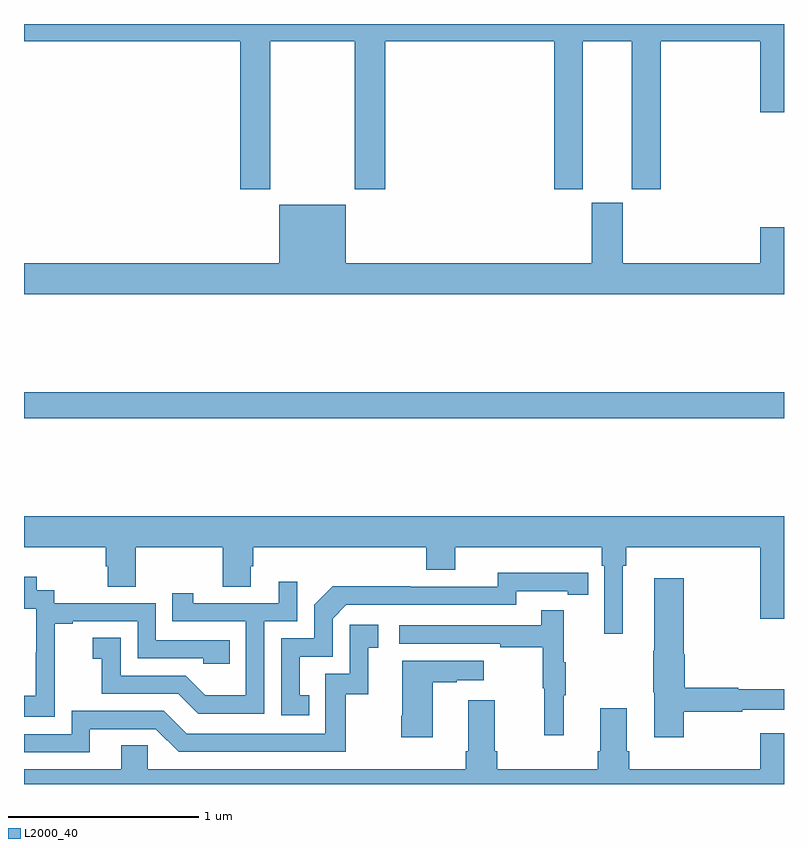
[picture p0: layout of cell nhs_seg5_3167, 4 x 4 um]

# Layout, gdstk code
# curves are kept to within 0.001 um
import gdstk
lib = gdstk.Library(unit=1e-6, precision=1e-09)
def R(c, l, rs):  # rectangles x0, y0, x1, y1
    for r in rs: c.add(gdstk.rectangle(r[:2], r[2:], *l))
def P(c, l, *ps):  # polygons
    for p in ps: c.add(gdstk.Polygon(p, *l))
L2000_40 = (2000, 40)

nhs_seg5_3167 = lib.new_cell('nhs_seg5_3167')
R(nhs_seg5_3167, L2000_40, [(293,906.724,297,906.86)])
P(nhs_seg5_3167, L2000_40, [(294.297,908.708),(294.742,908.708),(294.742,907.929),(294.902,907.929),(294.902,908.708),(295.79,908.708),(295.79,907.929),(295.942,907.929),(295.942,908.708),(296.198,908.708),(296.198,907.929),(296.351,907.929),(296.351,908.708),(296.876,908.708),(296.876,908.334),(297,908.334),(297,908.799),(293,908.799),(293,908.708),(294.137,908.708),(294.137,907.929),(294.297,907.929)],
  [(297,907.729),(296.876,907.729),(296.876,907.54),(296.152,907.54),(296.152,907.857),(295.988,907.857),(295.988,907.54),(294.694,907.54),(294.694,907.849),(294.344,907.849),(294.344,907.54),(293,907.54),(293,907.376),(297,907.376)],
  [(296.152,905.948),(296.171,905.948),(296.171,906.044),(296.876,906.044),(296.876,905.67),(297,905.67),(297,906.208),(293,906.208),(293,906.044),(293.429,906.044),(293.429,905.946),(293.441,905.946),(293.441,905.836),(293.589,905.836),(293.589,906.044),(294.046,906.044),(294.046,905.836),(294.193,905.836),(294.193,905.946),(294.206,905.946),(294.206,906.044),(295.118,906.044),(295.118,905.927),(295.27,905.927),(295.27,906.044),(296.042,906.044),(296.042,905.948),(296.055,905.948),(296.055,905.589),(296.152,905.589)],
  [(294.5,905.265),(294.451,905.265),(294.451,905.469),(294.624,905.469),(294.624,905.67),(294.696,905.742),(295.59,905.742),(295.59,905.814),(295.862,905.814),(295.862,905.794),(295.97,905.794),(295.97,905.91),(295.494,905.911),(295.494,905.838),(295.034,905.838),(295.034,905.84),(294.626,905.84),(294.528,905.742),(294.528,905.565),(294.354,905.565),(294.354,905.16),(294.5,905.16)],
  [(293.163,905.359),(293.162,905.359),(293.162,905.643),(293.257,905.643),(293.257,905.655),(293.598,905.655),(293.598,905.46),(293.943,905.46),(293.943,905.433),(294.083,905.433),(294.083,905.556),(293.694,905.556),(293.694,905.751),(293.16,905.751),(293.16,905.82),(293.068,905.82),(293.068,905.89),(293,905.89),(293,905.721),(293.064,905.721),(293.064,905.492),(293.063,905.492),(293.063,905.263),(293,905.263),(293,905.153),(293.163,905.153)],
  [(296.472,905.178),(296.78,905.178),(296.78,905.19),(297,905.19),(297,905.299),(296.76,905.299),(296.76,905.306),(296.477,905.306),(296.477,905.483),(296.472,905.483),(296.472,905.881),(296.318,905.881),(296.318,905.501),(296.311,905.501),(296.311,905.283),(296.318,905.283),(296.318,905.046),(296.472,905.046)],
  [(294.264,905.655),(294.438,905.655),(294.438,905.863),(294.341,905.863),(294.341,905.751),(293.89,905.751),(293.89,905.803),(293.779,905.803),(293.779,905.655),(294.168,905.655),(294.168,905.266),(293.954,905.266),(293.85,905.37),(293.508,905.37),(293.508,905.569),(293.361,905.569),(293.361,905.459),(293.41,905.459),(293.41,905.274),(293.813,905.274),(293.918,905.169),(294.264,905.169)],
  [(295.841,905.267),(295.852,905.267),(295.852,905.441),(295.841,905.441),(295.841,905.713),(295.723,905.713),(295.723,905.634),(294.975,905.634),(294.975,905.538),(295.507,905.538),(295.507,905.518),(295.731,905.518),(295.731,905.304),(295.738,905.304),(295.738,905.055),(295.841,905.055)],
  [(293.347,905.088),(293.694,905.088),(293.814,904.968),(294.694,904.968),(294.694,905.271),(294.812,905.271),(294.812,905.517),(294.865,905.517),(294.865,905.638),(294.714,905.638),(294.714,905.379),(294.585,905.379),(294.585,905.064),(293.856,905.064),(293.736,905.184),(293.25,905.184),(293.25,905.061),(293,905.061),(293,904.965),(293.347,904.965)],
  [(295.15,905.335),(295.277,905.335),(295.277,905.345),(295.42,905.345),(295.42,905.449),(294.992,905.449),(294.992,905.158),(294.985,905.158),(294.985,905.046),(295.15,905.046)],
  [(297,905.065),(296.876,905.065),(296.876,904.876),(296.186,904.876),(296.186,904.972),(296.173,904.972),(296.173,905.197),(296.033,905.197),(296.033,904.972),(296.021,904.972),(296.021,904.876),(295.49,904.876),(295.49,904.972),(295.477,904.972),(295.477,905.239),(295.337,905.239),(295.337,904.972),(295.325,904.972),(295.325,904.876),(293.652,904.876),(293.652,905.003),(293.513,905.003),(293.513,904.876),(293,904.876),(293,904.799),(297,904.799)])

lib.write_gds('nhs_seg5_3167.gds')
